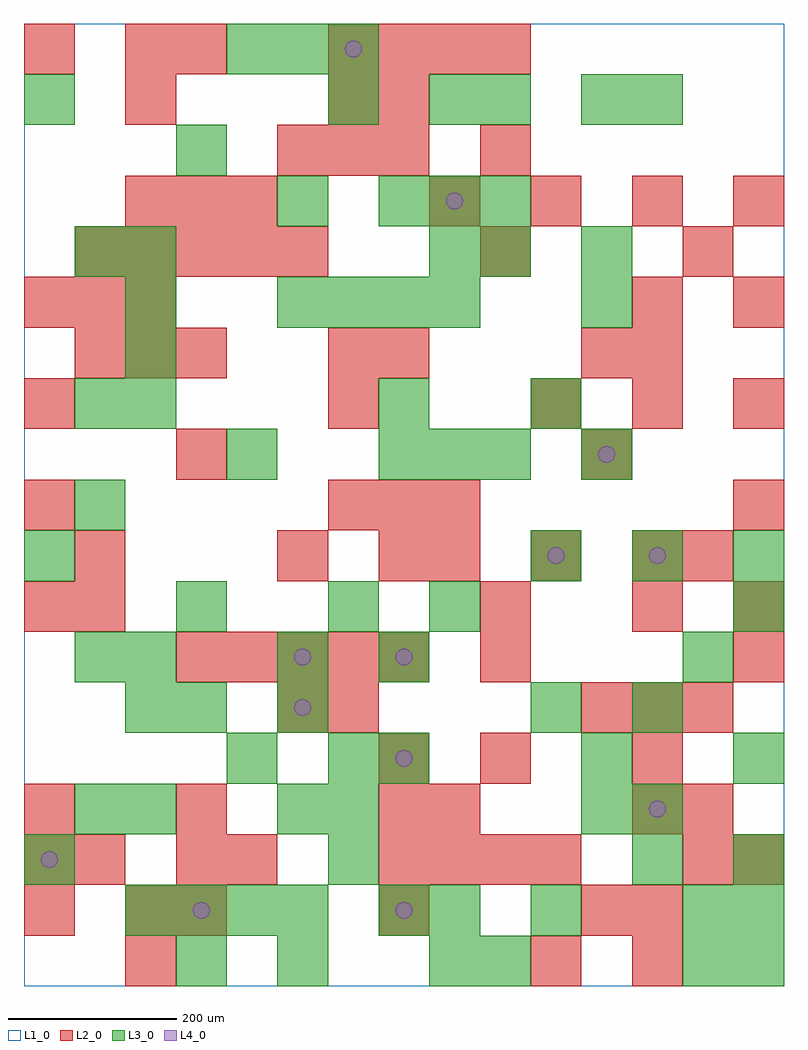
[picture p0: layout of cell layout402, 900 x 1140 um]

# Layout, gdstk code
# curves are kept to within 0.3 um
import gdstk
lib = gdstk.Library(unit=1e-6, precision=1e-09)
def R(c, l, rs):  # rectangles x0, y0, x1, y1
    for r in rs: c.add(gdstk.rectangle(r[:2], r[2:], *l))
def A(c, l, x, y, w, h, nx, ny, dx, dy):  # array of equal rectangles
    R(c, l, [(x+i*dx, y+j*dy, x+i*dx+w, y+j*dy+h) for i in range(nx) for j in range(ny)])
def P(c, l, *ps):  # polygons
    for p in ps: c.add(gdstk.Polygon(p, *l))
L1_0 = (1, 0)
L2_0 = (2, 0)
L3_0 = (3, 0)
L4_0 = (4, 0)

layout402 = lib.new_cell('layout402')
R(layout402, L1_0, [(0,0,900,1140)])
A(layout402, L2_0, 0, 60, 60, 60, 1, 3, 0, 60)
A(layout402, L2_0, 180, 60, 60, 60, 3, 1, 240, 0)
A(layout402, L2_0, 420, 120, 60, 60, 4, 1, 60, 0)
A(layout402, L2_0, 420, 240, 60, 60, 1, 3, 0, 240)
A(layout402, L2_0, 660, 300, 60, 60, 3, 1, 60, 0)
A(layout402, L2_0, 180, 360, 60, 60, 5, 1, 60, 0)
A(layout402, L2_0, 0, 420, 60, 60, 1, 3, 0, 120)
A(layout402, L2_0, 480, 480, 60, 60, 3, 1, 120, 0)
A(layout402, L2_0, 360, 540, 60, 60, 3, 1, 60, 0)
A(layout402, L2_0, 600, 660, 60, 60, 3, 1, 120, 0)
A(layout402, L2_0, 60, 720, 60, 60, 3, 1, 60, 0)
A(layout402, L2_0, 0, 780, 60, 60, 3, 1, 60, 0)
A(layout402, L2_0, 60, 840, 60, 60, 5, 1, 60, 0)
A(layout402, L2_0, 120, 900, 60, 60, 3, 1, 60, 0)
A(layout402, L2_0, 480, 900, 60, 60, 4, 1, 120, 0)
A(layout402, L2_0, 300, 960, 60, 60, 3, 1, 60, 0)
A(layout402, L2_0, 360, 1080, 60, 60, 4, 1, 60, 0)
R(layout402, L2_0, [(120,0,180,60), (600,0,660,60), (720,0,780,60), (120,60,180,120), (720,60,780,120), (60,120,120,180), (180,120,240,180), (240,120,300,180), (780,120,840,180), (840,120,900,180), (180,180,240,240), (420,180,480,240), (480,180,540,240), (720,180,780,240), (780,180,840,240), (540,240,600,300), (720,240,780,300), (300,300,360,360), (360,300,420,360), (540,360,600,420), (840,360,900,420), (60,420,120,480), (540,420,600,480), (720,420,780,480), (840,420,900,480), (60,480,120,540), (300,480,360,540), (780,480,840,540), (840,540,900,600), (180,600,240,660), (660,600,720,660), (360,660,420,720), (360,720,420,780), (660,720,720,780), (720,720,780,780), (720,780,780,840), (840,780,900,840), (540,840,600,900), (780,840,840,900), (540,960,600,1020), (120,1020,180,1080), (360,1020,420,1080), (420,1020,480,1080), (0,1080,60,1140), (120,1080,180,1140), (180,1080,240,1140)])
A(layout402, L3_0, 840, 0, 60, 60, 1, 3, 0, 60)
A(layout402, L3_0, 120, 60, 60, 60, 4, 1, 60, 0)
A(layout402, L3_0, 0, 120, 60, 60, 3, 1, 360, 0)
A(layout402, L3_0, 60, 180, 60, 60, 1, 3, 0, 180)
A(layout402, L3_0, 600, 480, 60, 60, 3, 1, 120, 0)
A(layout402, L3_0, 420, 600, 60, 60, 3, 2, 60, 300)
A(layout402, L3_0, 120, 660, 60, 60, 1, 4, 0, 60)
A(layout402, L3_0, 300, 780, 60, 60, 4, 1, 60, 0)
A(layout402, L3_0, 240, 1080, 60, 60, 3, 1, 60, 0)
R(layout402, L3_0, [(180,0,240,60), (300,0,360,60), (480,0,540,60), (540,0,600,60), (780,0,840,60), (420,60,480,120), (480,60,540,120), (600,60,660,120), (780,60,840,120), (120,180,180,240), (300,180,360,240), (360,180,420,240), (660,180,720,240), (720,180,780,240), (240,240,300,300), (360,240,420,300), (420,240,480,300), (660,240,720,300), (840,240,900,300), (120,300,180,360), (180,300,240,360), (300,300,360,360), (600,300,660,360), (720,300,780,360), (120,360,180,420), (300,360,360,420), (420,360,480,420), (780,360,840,420), (180,420,240,480), (360,420,420,480), (480,420,540,480), (840,420,900,480), (0,480,60,540), (240,600,300,660), (660,600,720,660), (60,660,120,720), (420,660,480,720), (600,660,660,720), (660,780,720,840), (60,840,120,900), (480,840,540,900), (540,840,600,900), (660,840,720,900), (300,900,360,960), (180,960,240,1020), (0,1020,60,1080), (360,1020,420,1080), (480,1020,540,1080), (540,1020,600,1080), (660,1020,720,1080), (720,1020,780,1080)])
P(layout402, L4_0, [(40,150),(39.239,153.827),(37.071,157.071),(33.827,159.239),(30,160),(26.173,159.239),(22.929,157.071),(20.761,153.827),(20,150),(20.761,146.173),(22.929,142.929),(26.173,140.761),(30,140),(33.827,140.761),(37.071,142.929),(39.239,146.173)],
  [(220,90),(219.239,93.827),(217.071,97.071),(213.827,99.239),(210,100),(206.173,99.239),(202.929,97.071),(200.761,93.827),(200,90),(200.761,86.173),(202.929,82.929),(206.173,80.761),(210,80),(213.827,80.761),(217.071,82.929),(219.239,86.173)],
  [(340,330),(339.239,333.827),(337.071,337.071),(333.827,339.239),(330,340),(326.173,339.239),(322.929,337.071),(320.761,333.827),(320,330),(320.761,326.173),(322.929,322.929),(326.173,320.761),(330,320),(333.827,320.761),(337.071,322.929),(339.239,326.173)],
  [(340,390),(339.239,393.827),(337.071,397.071),(333.827,399.239),(330,400),(326.173,399.239),(322.929,397.071),(320.761,393.827),(320,390),(320.761,386.173),(322.929,382.929),(326.173,380.761),(330,380),(333.827,380.761),(337.071,382.929),(339.239,386.173)],
  [(400,1110),(399.239,1113.827),(397.071,1117.071),(393.827,1119.239),(390,1120),(386.173,1119.239),(382.929,1117.071),(380.761,1113.827),(380,1110),(380.761,1106.173),(382.929,1102.929),(386.173,1100.761),(390,1100),(393.827,1100.761),(397.071,1102.929),(399.239,1106.173)],
  [(460,90),(459.239,93.827),(457.071,97.071),(453.827,99.239),(450,100),(446.173,99.239),(442.929,97.071),(440.761,93.827),(440,90),(440.761,86.173),(442.929,82.929),(446.173,80.761),(450,80),(453.827,80.761),(457.071,82.929),(459.239,86.173)],
  [(460,270),(459.239,273.827),(457.071,277.071),(453.827,279.239),(450,280),(446.173,279.239),(442.929,277.071),(440.761,273.827),(440,270),(440.761,266.173),(442.929,262.929),(446.173,260.761),(450,260),(453.827,260.761),(457.071,262.929),(459.239,266.173)],
  [(460,390),(459.239,393.827),(457.071,397.071),(453.827,399.239),(450,400),(446.173,399.239),(442.929,397.071),(440.761,393.827),(440,390),(440.761,386.173),(442.929,382.929),(446.173,380.761),(450,380),(453.827,380.761),(457.071,382.929),(459.239,386.173)],
  [(520,930),(519.239,933.827),(517.071,937.071),(513.827,939.239),(510,940),(506.173,939.239),(502.929,937.071),(500.761,933.827),(500,930),(500.761,926.173),(502.929,922.929),(506.173,920.761),(510,920),(513.827,920.761),(517.071,922.929),(519.239,926.173)],
  [(640,510),(639.239,513.827),(637.071,517.071),(633.827,519.239),(630,520),(626.173,519.239),(622.929,517.071),(620.761,513.827),(620,510),(620.761,506.173),(622.929,502.929),(626.173,500.761),(630,500),(633.827,500.761),(637.071,502.929),(639.239,506.173)],
  [(700,630),(699.239,633.827),(697.071,637.071),(693.827,639.239),(690,640),(686.173,639.239),(682.929,637.071),(680.761,633.827),(680,630),(680.761,626.173),(682.929,622.929),(686.173,620.761),(690,620),(693.827,620.761),(697.071,622.929),(699.239,626.173)],
  [(760,210),(759.239,213.827),(757.071,217.071),(753.827,219.239),(750,220),(746.173,219.239),(742.929,217.071),(740.761,213.827),(740,210),(740.761,206.173),(742.929,202.929),(746.173,200.761),(750,200),(753.827,200.761),(757.071,202.929),(759.239,206.173)],
  [(760,510),(759.239,513.827),(757.071,517.071),(753.827,519.239),(750,520),(746.173,519.239),(742.929,517.071),(740.761,513.827),(740,510),(740.761,506.173),(742.929,502.929),(746.173,500.761),(750,500),(753.827,500.761),(757.071,502.929),(759.239,506.173)])

lib.write_gds('layout402.gds')
